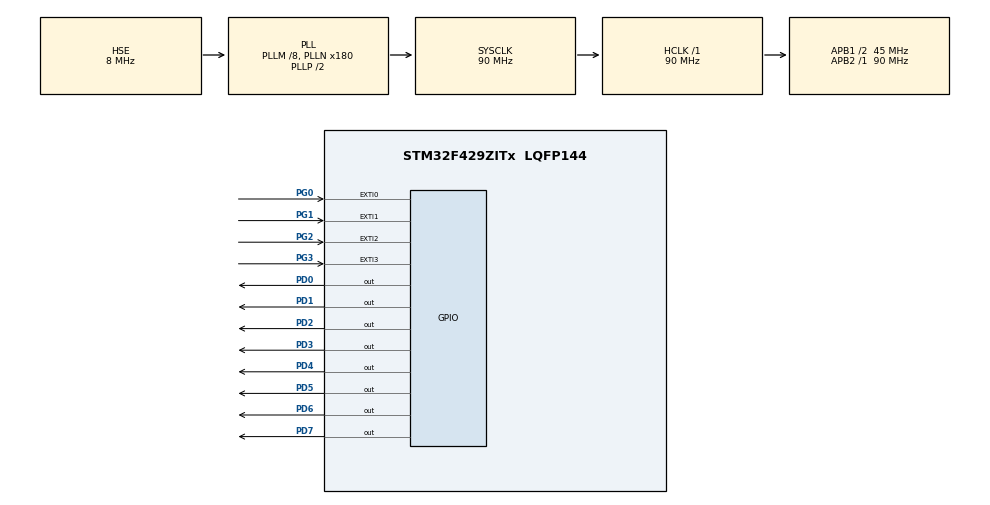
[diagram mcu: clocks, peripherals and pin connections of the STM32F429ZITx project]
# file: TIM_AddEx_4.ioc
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Mcu.Family=STM32F4
Mcu.Name=STM32F429ZITx
Mcu.Package=LQFP144
NVIC.EXTI0_IRQn=true\:0\:0\:false\:false\:true\:true\:true\:true
NVIC.EXTI1_IRQn=true\:0\:0\:false\:false\:true\:true\:true\:true
NVIC.EXTI2_IRQn=true\:0\:0\:false\:false\:true\:true\:true\:true
NVIC.EXTI3_IRQn=true\:0\:0\:false\:false\:true\:true\:true\:true
NVIC.PriorityGroup=NVIC_PRIORITYGROUP_4
NVIC.TIM2_IRQn=true\:0\:0\:false\:false\:true\:true\:true\:true
PA13.Mode=Serial_Wire
PA13.Signal=SYS_JTMS-SWDIO
PA14.Mode=Serial_Wire
PA14.Signal=SYS_JTCK-SWCLK
PD0.GPIO_ModeDefaultOutputPP=GPIO_MODE_OUTPUT_PP
PD0.GPIO_PuPd=GPIO_PULLUP
PD0.GPIO_Speed=GPIO_SPEED_FREQ_HIGH
PD0.PinState=GPIO_PIN_RESET
PD0.Signal=GPIO_Output
PD1.GPIO_ModeDefaultOutputPP=GPIO_MODE_OUTPUT_PP
PD1.GPIO_PuPd=GPIO_PULLUP
PD1.GPIO_Speed=GPIO_SPEED_FREQ_HIGH
PD1.PinState=GPIO_PIN_RESET
PD1.Signal=GPIO_Output
PD2.GPIO_ModeDefaultOutputPP=GPIO_MODE_OUTPUT_PP
PD2.GPIO_PuPd=GPIO_PULLUP
PD2.GPIO_Speed=GPIO_SPEED_FREQ_HIGH
PD2.PinState=GPIO_PIN_RESET
PD2.Signal=GPIO_Output
PD3.GPIO_ModeDefaultOutputPP=GPIO_MODE_OUTPUT_PP
PD3.GPIO_PuPd=GPIO_PULLUP
PD3.GPIO_Speed=GPIO_SPEED_FREQ_HIGH
PD3.PinState=GPIO_PIN_RESET
PD3.Signal=GPIO_Output
PD4.GPIO_ModeDefaultOutputPP=GPIO_MODE_OUTPUT_PP
PD4.GPIO_PuPd=GPIO_PULLUP
PD4.GPIO_Speed=GPIO_SPEED_FREQ_HIGH
PD4.PinState=GPIO_PIN_RESET
PD4.Signal=GPIO_Output
PD5.GPIO_ModeDefaultOutputPP=GPIO_MODE_OUTPUT_PP
PD5.GPIO_PuPd=GPIO_PULLUP
PD5.GPIO_Speed=GPIO_SPEED_FREQ_HIGH
PD5.PinState=GPIO_PIN_RESET
PD5.Signal=GPIO_Output
PD6.GPIO_ModeDefaultOutputPP=GPIO_MODE_OUTPUT_PP
PD6.GPIO_PuPd=GPIO_PULLUP
PD6.GPIO_Speed=GPIO_SPEED_FREQ_HIGH
PD6.PinState=GPIO_PIN_RESET
PD6.Signal=GPIO_Output
PD7.GPIO_ModeDefaultOutputPP=GPIO_MODE_OUTPUT_PP
PD7.GPIO_PuPd=GPIO_PULLUP
PD7.GPIO_Speed=GPIO_SPEED_FREQ_HIGH
PD7.PinState=GPIO_PIN_RESET
PD7.Signal=GPIO_Output
PG0.GPIO_ModeDefaultEXTI=GPIO_MODE_IT_FALLING
PG0.GPIO_PuPd=GPIO_NOPULL
PG0.Signal=GPXTI0
PG1.GPIO_ModeDefaultEXTI=GPIO_MODE_IT_FALLING
PG1.GPIO_PuPd=GPIO_NOPULL
PG1.Signal=GPXTI1
PG2.GPIO_ModeDefaultEXTI=GPIO_MODE_IT_FALLING
PG2.GPIO_PuPd=GPIO_NOPULL
PG2.Signal=GPXTI2
PG3.GPIO_ModeDefaultEXTI=GPIO_MODE_IT_FALLING
PG3.GPIO_PuPd=GPIO_NOPULL
PG3.Signal=GPXTI3
PH0/OSC_IN.Mode=HSE-External-Clock-Source
PH0/OSC_IN.Signal=RCC_OSC_IN
PH1/OSC_OUT.Mode=HSE-External-Clock-Source
PH1/OSC_OUT.Signal=RCC_OSC_OUT
ProjectManager.HeapSize=0x200
ProjectManager.StackSize=0x400
ProjectManager.TargetToolchain=STM32CubeIDE
RCC.48MHZClocksFreq_Value=45000000
RCC.AHBFreq_Value=90000000
RCC.APB1CLKDivider=RCC_HCLK_DIV2
RCC.APB1Freq_Value=45000000
RCC.APB1TimFreq_Value=90000000
RCC.APB2Freq_Value=90000000
RCC.APB2TimFreq_Value=90000000
RCC.CortexFreq_Value=90000000
RCC.HCLKFreq_Value=90000000
RCC.HSE_VALUE=8000000
RCC.HSI_VALUE=16000000
RCC.LSE_VALUE=32768
RCC.PLLM=8
RCC.PLLN=180
RCC.PLLSourceVirtual=RCC_PLLSOURCE_HSE
RCC.SYSCLKFreq_VALUE=90000000
RCC.SYSCLKSource=RCC_SYSCLKSOURCE_PLLCLK
RCC.VCOOutputFreq_Value=180000000
TIM2.Channel-Output\ Compare1\ No\ Output=TIM_CHANNEL_1
TIM2.Period=9999
TIM2.Prescaler=8999
TIM2.Pulse-Output\ Compare1\ No\ Output=999
VP_TIM2_VS_ClockSourceINT.Mode=Internal
VP_TIM2_VS_no_output1.Mode=Output Compare1 No Output
board=custom

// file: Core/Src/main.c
/* USER CODE BEGIN Header */
/**
  ******************************************************************************
  * @file           : main.c
  * @brief          : Main program body
  ******************************************************************************
  * @attention
  *
  * Copyright (c) 2023 STMicroelectronics.
  * All rights reserved.
  *
  * This software is licensed under terms that can be found in the LICENSE file
  * in the root directory of this software component.
  * If no LICENSE file comes with this software, it is provided AS-IS.
  *
  ******************************************************************************
  */
/* USER CODE END Header */
#include "main.h"

TIM_HandleTypeDef htim2;

/* USER CODE BEGIN PV */

int period = 9999;

int cnt = 0, dir = 0;

/* USER CODE END PV */

void SystemClock_Config(void);
static void MX_GPIO_Init(void);
static void MX_TIM2_Init(void);
/* USER CODE BEGIN PFP */

void LED_OnOff(int, int);

/* USER CODE END PFP */

int main(void)
{

  /* MCU Configuration--------------------------------------------------------*/

  /* Reset of all peripherals, Initializes the Flash interface and the Systick. */
  HAL_Init();

  /* Configure the system clock */
  SystemClock_Config();

  /* Initialize all configured peripherals */
  MX_GPIO_Init();
  MX_TIM2_Init();
  /* USER CODE BEGIN 2 */

  LED_OnOff(LED_ALL, 500);

  HAL_TIM_Base_Start_IT(&htim2);
  HAL_TIM_OC_Start_IT(&htim2, TIM_CHANNEL_1);

  /* USER CODE END 2 */

  /* Infinite loop */
  while (1)
  {

  }
}

void SystemClock_Config(void)
{
  RCC_OscInitTypeDef RCC_OscInitStruct = {0};
  RCC_ClkInitTypeDef RCC_ClkInitStruct = {0};

  /** Configure the main internal regulator output voltage
  */
  __HAL_RCC_PWR_CLK_ENABLE();
  __HAL_PWR_VOLTAGESCALING_CONFIG(PWR_REGULATOR_VOLTAGE_SCALE3);

  /** Initializes the RCC Oscillators according to the specified parameters
  * in the RCC_OscInitTypeDef structure.
  */
  RCC_OscInitStruct.OscillatorType = RCC_OSCILLATORTYPE_HSE;
  RCC_OscInitStruct.HSEState = RCC_HSE_BYPASS;
  RCC_OscInitStruct.PLL.PLLState = RCC_PLL_ON;
  RCC_OscInitStruct.PLL.PLLSource = RCC_PLLSOURCE_HSE;
  RCC_OscInitStruct.PLL.PLLM = 8;
  RCC_OscInitStruct.PLL.PLLN = 180;
  RCC_OscInitStruct.PLL.PLLP = RCC_PLLP_DIV2;
  RCC_OscInitStruct.PLL.PLLQ = 4;
  if (HAL_RCC_OscConfig(&RCC_OscInitStruct) != HAL_OK)
  {
    Error_Handler();
  }

  /** Activate the Over-Drive mode
  */
  if (HAL_PWREx_EnableOverDrive() != HAL_OK)
  {
    Error_Handler();
  }

  /** Initializes the CPU, AHB and APB buses clocks
  */
  RCC_ClkInitStruct.ClockType = RCC_CLOCKTYPE_HCLK|RCC_CLOCKTYPE_SYSCLK
                              |RCC_CLOCKTYPE_PCLK1|RCC_CLOCKTYPE_PCLK2;
  RCC_ClkInitStruct.SYSCLKSource = RCC_SYSCLKSOURCE_PLLCLK;
  RCC_ClkInitStruct.AHBCLKDivider = RCC_SYSCLK_DIV1;
  RCC_ClkInitStruct.APB1CLKDivider = RCC_HCLK_DIV2;
  RCC_ClkInitStruct.APB2CLKDivider = RCC_HCLK_DIV1;

  if (HAL_RCC_ClockConfig(&RCC_ClkInitStruct, FLASH_LATENCY_2) != HAL_OK)
  {
    Error_Handler();
  }
}

static void MX_TIM2_Init(void)
{

  TIM_ClockConfigTypeDef sClockSourceConfig = {0};
  TIM_MasterConfigTypeDef sMasterConfig = {0};
  TIM_OC_InitTypeDef sConfigOC = {0};

  htim2.Instance = TIM2;
  htim2.Init.Prescaler = 8999;
  htim2.Init.CounterMode = TIM_COUNTERMODE_UP;
  htim2.Init.Period = 9999;
  htim2.Init.ClockDivision = TIM_CLOCKDIVISION_DIV1;
  htim2.Init.AutoReloadPreload = TIM_AUTORELOAD_PRELOAD_DISABLE;
  if (HAL_TIM_Base_Init(&htim2) != HAL_OK)
  {
    Error_Handler();
  }
  sClockSourceConfig.ClockSource = TIM_CLOCKSOURCE_INTERNAL;
  if (HAL_TIM_ConfigClockSource(&htim2, &sClockSourceConfig) != HAL_OK)
  {
    Error_Handler();
  }
  if (HAL_TIM_OC_Init(&htim2) != HAL_OK)
  {
    Error_Handler();
  }
  sMasterConfig.MasterOutputTrigger = TIM_TRGO_RESET;
  sMasterConfig.MasterSlaveMode = TIM_MASTERSLAVEMODE_DISABLE;
  if (HAL_TIMEx_MasterConfigSynchronization(&htim2, &sMasterConfig) != HAL_OK)
  {
    Error_Handler();
  }
  sConfigOC.OCMode = TIM_OCMODE_TIMING;
  sConfigOC.Pulse = 999;
  sConfigOC.OCPolarity = TIM_OCPOLARITY_HIGH;
  sConfigOC.OCFastMode = TIM_OCFAST_DISABLE;
  if (HAL_TIM_OC_ConfigChannel(&htim2, &sConfigOC, TIM_CHANNEL_1) != HAL_OK)
  {
    Error_Handler();
  }

}

static void MX_GPIO_Init(void)
{
  GPIO_InitTypeDef GPIO_InitStruct = {0};

  /* GPIO Ports Clock Enable */
  __HAL_RCC_GPIOH_CLK_ENABLE();
  __HAL_RCC_GPIOG_CLK_ENABLE();
  __HAL_RCC_GPIOA_CLK_ENABLE();
  __HAL_RCC_GPIOD_CLK_ENABLE();

  /*Configure GPIO pin Output Level */
  HAL_GPIO_WritePin(GPIOD, GPIO_PIN_0|GPIO_PIN_1|GPIO_PIN_2|GPIO_PIN_3
                          |GPIO_PIN_4|GPIO_PIN_5|GPIO_PIN_6|GPIO_PIN_7, GPIO_PIN_RESET);

  /*Configure GPIO pins : PG0 PG1 PG2 PG3 */
  GPIO_InitStruct.Pin = GPIO_PIN_0|GPIO_PIN_1|GPIO_PIN_2|GPIO_PIN_3;
  GPIO_InitStruct.Mode = GPIO_MODE_IT_FALLING;
  GPIO_InitStruct.Pull = GPIO_NOPULL;
  HAL_GPIO_Init(GPIOG, &GPIO_InitStruct);

  /*Configure GPIO pins : PD0 PD1 PD2 PD3
                           PD4 PD5 PD6 PD7 */
  GPIO_InitStruct.Pin = GPIO_PIN_0|GPIO_PIN_1|GPIO_PIN_2|GPIO_PIN_3
                          |GPIO_PIN_4|GPIO_PIN_5|GPIO_PIN_6|GPIO_PIN_7;
  GPIO_InitStruct.Mode = GPIO_MODE_OUTPUT_PP;
  GPIO_InitStruct.Pull = GPIO_PULLUP;
  GPIO_InitStruct.Speed = GPIO_SPEED_FREQ_HIGH;
  HAL_GPIO_Init(GPIOD, &GPIO_InitStruct);

  /* EXTI interrupt init*/
  HAL_NVIC_SetPriority(EXTI0_IRQn, 0, 0);
  HAL_NVIC_EnableIRQ(EXTI0_IRQn);

  HAL_NVIC_SetPriority(EXTI1_IRQn, 0, 0);
  HAL_NVIC_EnableIRQ(EXTI1_IRQn);

  HAL_NVIC_SetPriority(EXTI2_IRQn, 0, 0);
  HAL_NVIC_EnableIRQ(EXTI2_IRQn);

  HAL_NVIC_SetPriority(EXTI3_IRQn, 0, 0);
  HAL_NVIC_EnableIRQ(EXTI3_IRQn);

}

/* USER CODE BEGIN 4 */

void LED_OnOff(int led, int interval)
{
	HAL_GPIO_WritePin(GPIO_LED, led, GPIO_PIN_SET );
	HAL_GPIO_WritePin(GPIO_LED_Nucleo, led, GPIO_PIN_SET );
	HAL_Delay(interval);
	HAL_GPIO_WritePin(GPIO_LED, led, GPIO_PIN_RESET );
	HAL_GPIO_WritePin(GPIO_LED_Nucleo, led, GPIO_PIN_RESET );
}
void HAL_TIM_PeriodElapsedCallback(TIM_HandleTypeDef *htim)
{
//	TIM_Base_InitTypeDef sConfigBase = {0};
	if ( htim->Instance == TIM2){
		HAL_GPIO_WritePin(GPIO_LED, LED1 | LED3 | LED5 | LED7, GPIO_PIN_SET);

//		sConfigBase.Period = period;
		if (period <= 10){
			dir = 1;
		}
		else if (period >= 9999){
			dir = 0;
		}

		if (dir == 0){
			__HAL_TIM_SET_AUTORELOAD(&htim2, period);
			period = period * 9 / 10;
		}
		else if(dir == 1){
			__HAL_TIM_SET_AUTORELOAD(&htim2, period);
			period = period * 10 / 9;
		}

	}

}
void HAL_TIM_OC_DelayElapsedCallback(TIM_HandleTypeDef *htim)
{
	if ( htim->Instance == TIM2){
		HAL_GPIO_WritePin(GPIO_LED, LED1 | LED3 | LED5 | LED7, GPIO_PIN_RESET);

//		HAL_TIM_OC_ConfigChannel(&htim2, &sConfigOC, TIM_CHANNEL_1);
//		HAL_TIM_ConfigChannel()

	}
}

/* USER CODE END 4 */

void Error_Handler(void)
{
  __disable_irq();
  while (1)
  {
  }
}
